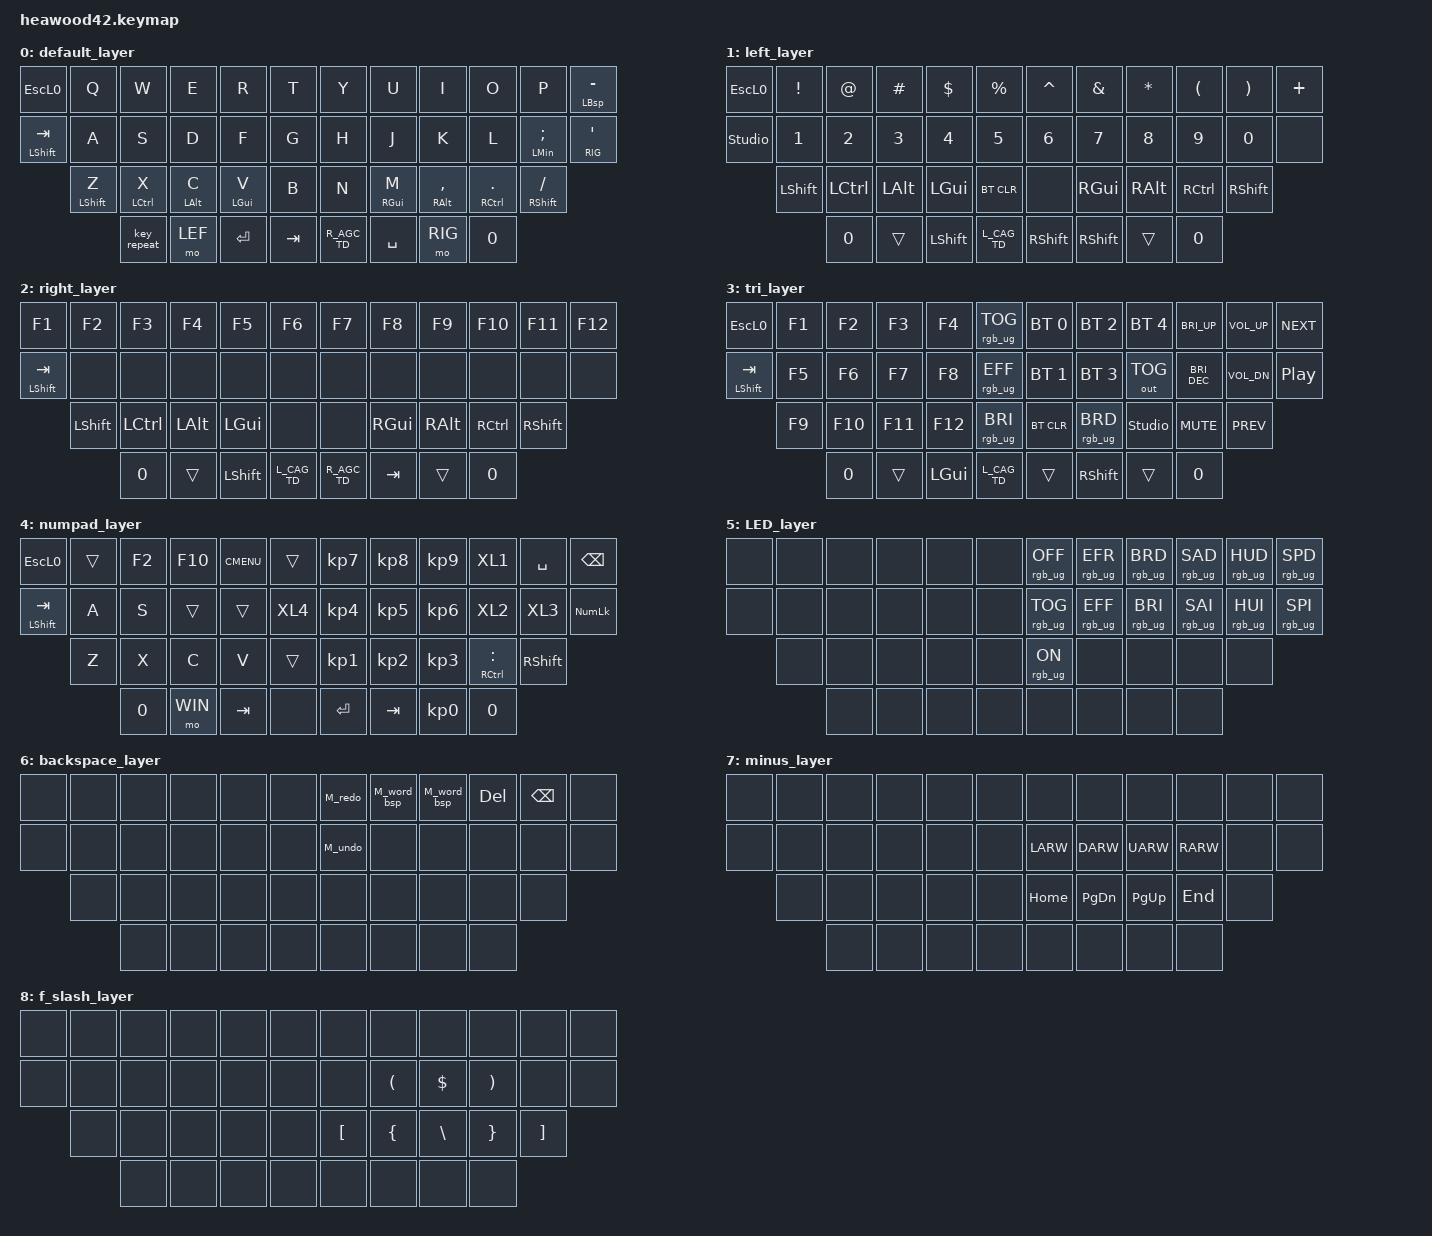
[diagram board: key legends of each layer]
/*
/*
 * Copyright (c) 2020 The ZMK Contributors
 *
 * SPDX-License-Identifier: MIT
 */

#include <behaviors.dtsi>
#include <dt-bindings/zmk/keys.h>
#include <dt-bindings/zmk/bt.h>
#include <dt-bindings/zmk/outputs.h>
#include <dt-bindings/zmk/ext_power.h>
#include <dt-bindings/zmk/rgb.h>
#include <dt-bindings/led/led.h>
 
#define RTOG RGB_TOG
#define RON  RGB_ON
#define ROFF RGB_OFF
#define REFF RGB_EFF
#define RBRI RGB_BRI
#define RBRD RGB_BRD
#define RSAI RGB_SAI
#define RSAD RGB_SAD
#define RSPI RGB_SPI
#define RSPD RGB_SPD
#define REFF RGB_EFF
#define REFR RGB_EFR
#define RHUI RGB_HUI
#define RHUD RGB_HUD

#define BT0 &bt BT_SEL 0
#define BT1 &bt BT_SEL 1
#define BT2 &bt BT_SEL 2
#define BT3 &bt BT_SEL 3
#define BT4 &bt BT_SEL 4
#define BT5 &bt BT_SEL 5
#define WIN 0
#define LEF 1
#define RIG 2
#define TRI 3
#define NUM 4
#define LED 5
#define LBsp 6 
#define LMin 7
#define LFsl 8


&led_strip {
    chain-length = <35>;
};


// My LED pin is P0.06
// See https://nicekeyboards.com/docs/nice-nano/pinout-schematic/
&pinctrl {
    spi3_default: spi3_default {
        group1 {
            psels = <NRF_PSEL(SPIM_MOSI, 0, 6)>;
        };
    };
 
    spi3_sleep: spi3_sleep {
        group1 {
            psels = <NRF_PSEL(SPIM_MOSI, 0, 6)>;
            low-power-enable;
        };
    };
};

&spi3 {
  compatible = "nordic,nrf-spim";
  status = "okay";

  pinctrl-0 = <&spi3_default>;
  pinctrl-1 = <&spi3_sleep>;
  pinctrl-names = "default", "sleep";

  led_strip: ws2812@0 {
    compatible = "worldsemi,ws2812-spi";

    // SPI //
    reg = <0>; // ignored, but necessary for SPI bindings //
    spi-max-frequency = <4000000>;

    // WS2812 //
    chain-length = <35>; // number of LEDs //
    spi-one-frame = <0x70>;
    spi-zero-frame = <0x40>;
    color-mapping = <LED_COLOR_ID_GREEN
                          LED_COLOR_ID_RED
                          LED_COLOR_ID_BLUE>;
  };
};



&sk {
    release-after-ms = <2000>;
    quick-release;
    };


// See https://github.com/rastasheep/zmk-config/blob/master/config/lily58.keymap
#define HYP LS(LC(LA(LGUI)))
#define HYPER(key) LS(LC(LA(LG(key))))
/ {

    behaviors {
    	//Hold Taps
        ht: hold_tap { 
            compatible = "zmk,behavior-hold-tap";
            #binding-cells = <2>;
            flavor = "tap-preferred";
            tapping-term-ms = <220>;
            quick-tap-ms = <150>;
            bindings = <&kp>, <&kp>;
        };
        htl: hold_tap_layers { 
            compatible = "zmk,behavior-hold-tap";
            #binding-cells = <2>;
            flavor = "hold-preferred";
            tapping-term-ms = <220>;
            quick-tap-ms = <150>;
            bindings = <&mo>, <&tog>;
        };
	
	//Tap Dances
	LSpace: spc_ent_left {
	    compatible = "zmk,behavior-tap-dance";
            #binding-cells = <0>;
            tapping-term-ms = <200>;
            bindings = <&kp SPACE>, <&kp ENTER>;  
	};
	RSpace: spc_ent_right {
	    compatible = "zmk,behavior-tap-dance";
            #binding-cells = <0>;
            tapping-term-ms = <200>;
            bindings = <&kp SPACE>, <&kp ENTER>;  
	};
	EscL0: Esctab_ent {
	    compatible = "zmk,behavior-tap-dance";
            #binding-cells = <0>;
            tapping-term-ms = <200>;
            bindings = <&kp ESC>, <&to 0>;
	};
	L_CAG_TD: CtrAltGui_L_TD{
	    compatible = "zmk,behavior-tap-dance";
            #binding-cells = <0>;
            tapping-term-ms = <300>;
            bindings = <&kp LCTRL>, <&kp LALT>,  <&kp LGUI>;
	};
	R_AGC_TD: AltGuiCtr_R_TD{
	    compatible = "zmk,behavior-tap-dance";
            #binding-cells = <0>;
            tapping-term-ms = <300>;
            bindings = <&kp RALT>, <&kp RGUI>, <&kp RCTRL>;
	};
	TD_COMMA: comma_semi_tapdance{
	    compatible = "zmk,behavior-tap-dance";
            #binding-cells = <0>;
            tapping-term-ms = <200>;
            bindings = <&kp COMMA>, <&kp SEMI>;
	};
	TD_LT: LessThan_LParenthesis_tapdance{
	    compatible = "zmk,behavior-tap-dance";
            #binding-cells = <0>;
            tapping-term-ms = <200>;
            bindings = <&kp COMMA>, <&kp N9>;
	};
	TD_DOT: dot_colon_tapdance{
	    compatible = "zmk,behavior-tap-dance";
            #binding-cells = <0>;
            tapping-term-ms = <200>;
            bindings = <&kp DOT>, <&kp COLON>;
	};
	TD_GT: GreaterThan_RParenthesis_tapdance{
	    compatible = "zmk,behavior-tap-dance";
            #binding-cells = <0>;
            tapping-term-ms = <200>;
            bindings = <&kp DOT>, <&kp N0>;
	};

	

	//Morphs
	MM_DOT: DotGT_ColonRParen_Modmorph {
            compatible = "zmk,behavior-mod-morph";
            #binding-cells = <0>;
            bindings = <&TD_DOT>, <&TD_GT>;
            mods = <(MOD_LSFT | MOD_RSFT)>;
            keep-mods = <(MOD_LSFT | MOD_RSFT)>;
	};
	MM_COMMA: CommaLT_SemiLParenthesis_Modmorph {
            compatible = "zmk,behavior-mod-morph";
            #binding-cells = <0>;
            bindings = <&TD_COMMA>, <&TD_LT>;
            mods = <(MOD_LSFT | MOD_RSFT)>;
            keep-mods = <(MOD_LSFT | MOD_RSFT)>;
	};

    };  //end behaviours
    


    macros {
        XL1: excel_decolour {
            compatible = "zmk,behavior-macro";
            #binding-cells = <0>;
            bindings
                = <&macro_press &kp LALT>
                , <&macro_tap &kp H &kp H &kp N>
                , <&macro_release &kp LALT>;
        }; 
	XL2: excel_time {
            compatible = "zmk,behavior-macro";
            #binding-cells = <0>;
            bindings
                = <&macro_press &kp LCTRL>
                , <&macro_press &kp LSHFT>
                , <&macro_tap &kp SEMI>
                , <&macro_release &kp LSHFT>
                , <&macro_release &kp LCTRL>;
        };
        XL3: excel_date {
            compatible = "zmk,behavior-macro";
            #binding-cells = <0>;
            bindings
                = <&macro_press &kp LCTRL>
                , <&macro_tap &kp SEMI>
                , <&macro_release &kp LCTRL>;
        };
        XL4: excel_general_format {
            compatible = "zmk,behavior-macro";
            #binding-cells = <0>;
            bindings
                = <&macro_press &kp LCTRL>
                , <&macro_press &kp LSHFT>
                , <&macro_tap &kp GRAVE>
                , <&macro_release &kp LSHFT>
                , <&macro_release &kp LCTRL>;
        };
	M_word_del: BDelWord{
            compatible = "zmk,behavior-macro";
            #binding-cells = <0>;
            bindings
                = <&macro_press &kp LCTRL>
                , <&macro_tap &kp DELETE>
		, <&macro_release &kp LCTRL>
		;
	};
	M_word_bsp: BSpcWord{
            compatible = "zmk,behavior-macro";
            #binding-cells = <0>;
            bindings
                = <&macro_press &kp LCTRL>
                , <&macro_tap &kp BACKSPACE>
		, <&macro_release &kp LCTRL>
		;
	};
	M_redo: RedoLast{
            compatible = "zmk,behavior-macro";
            #binding-cells = <0>;
            bindings
                = <&macro_press &kp LCTRL>
                , <&macro_tap &kp Y>
		, <&macro_release &kp LCTRL>
		;
	};
	M_undo: UndoLast{
            compatible = "zmk,behavior-macro";
            #binding-cells = <0>;
            bindings
                = <&macro_press &kp LCTRL>
                , <&macro_tap &kp Z>
		, <&macro_release &kp LCTRL>
		;
	};
    };

    conditional_layers {
        compatible = "zmk,conditional-layers";
        tri_layer {
            if-layers = <RIG LEF>;
            then-layer = <TRI>;
        };
    };

    combos {
        compatible = "zmk,combos";
        combo_del {
            timeout-ms = <50>;
            key-positions = <15 16>;
            bindings = <&kp DEL>;
        };
        combo_backspace {
            timeout-ms = <50>;
            key-positions = <19 20>;
            bindings = <&kp BSPC>;
        };
        combo_shift_left{
            timeout-ms = <50>;
            key-positions = <20 21>;
            bindings = <&kp LSHFT>;
        };
        combo_shift_right{
            timeout-ms = <50>;
            key-positions = <14 15>;
            bindings = <&kp RSHFT>;
        };
        combo_ctrl_left{
            timeout-ms = <50>;
            key-positions = <3 4>;
            bindings = <&kp LCTRL>;
        };
        combo_ctrl_right{
            timeout-ms = <50>;
            key-positions = <7 8>;
            bindings = <&kp RCTRL>;
        };
        combo_alt_left{
            timeout-ms = <50>;
            key-positions = <2 4>;
            bindings = <&kp LALT>;
        };
        combo_alt_right{
            timeout-ms = <50>;
            key-positions = <7 9>;
            bindings = <&kp RALT>;
        };
        combo_gui_left{
            timeout-ms = <50>;
            key-positions = <2 3>;
            bindings = <&kp LGUI>;
        };
        combo_gui_right{
            timeout-ms = <50>;
            key-positions = <8 9>;
            bindings = <&kp RGUI>;
        };
    };
    
    keymap {
        compatible = "zmk,keymap";
        default_layer {
            bindings = <
//              ╭───────────┬───────────┬───────────┬───────────┬───────────╮     ╭───────────┬───────────┬───────────┬───────────┬───────────╮
//╭─────────────┤     Q     │     W     │    E      │     R     │     T     │     │     Y     │     U     │     I     │     O     │     P     ├───────────╮
  &EscL0        &kp   Q     &kp   W     &kp  E      &kp   R     &kp   T           &kp   Y     &kp   U     &kp   I     &kp   O     &kp P       &lt LBsp MINUS
//│             ├───────────┼───────────┼───────────┼───────────┼───────────┤     ├───────────┼───────────┼───────────┼───────────┼───────────┤    -  (l) │
//├─────────────┤     A     │     S     │    D      │     F     │     G     │     │     H     │     J     │     K     │     L     │     ; (l) ├───────────┤
  &mt LSHFT TAB &kp   A     &kp   S     &kp  D      &kp   F     &kp   G           &kp   H     &kp   J     &kp   K     &kp   L     &lt LMin SEMI &lt RIG SQT
//│   LSHIFT    ├───────────┼───────────┼───────────┼───────────┼───────────┤     ├───────────┼───────────┼───────────┼───────────┼───────────┤ ' / Right │
//╰─────────────┤     Z     │     X     │    C      │     V     │     B     │     │     N     │     M     │    , <    │    . >   <│   / ? (l) ├───────────╯
                &mt LSHIFT Z &mt LCTRL X &mt LALT C &mt LGUI V  &kp   B           &kp   N     &mt RGUI M  &mt RALT COMMA &mt RCTRL DOT &mt RSHFT FSLH
//              ╰───────────┴───────────┴───────────┴───────────┴───────────╯     ╰───────────┴───────────┴───────────┴───────────┴───────────╯
//                          ╭───────────┬───────────┬───────────┬───────────╮     ╭───────────┬───────────┬───────────┬───────────╮
//                          │           │           │           │           │     │           │           │           │           │
                            &key_repeat &mo LEF     &kp ENTER   &kp TAB           &R_AGC_TD   &kp SPACE   &mo RIG    &kp N0
//                          ╰───────────┴───────────┤           ├───────────╯     ╰───────────┤           ├───────────┴───────────╯
//                                                  ╰───────────╯                             ╰───────────╯
		>;
	};


        left_layer {
            bindings = <
//              ╭───────────┬───────────┬───────────┬───────────┬───────────╮     ╭───────────┬───────────┬───────────┬───────────┬───────────╮
//╭─────────────┤     !     │     @     │     #     │     $     │     %     │     │     ^     │     &     │     *     │      (    │    )      ├───────────╮
  &EscL0        &kp EXCL    &kp  AT     &kp  HASH   &kp  DLLR   &kp  PRCNT        &kp CARET   &kp  AMPS   &kp STAR    &kp  LPAR   &kp  RPAR   &kp PLUS
//│ Esc + LayEsc├───────────┼───────────┼───────────┼───────────┼───────────┤     ├───────────┼───────────┼───────────┼───────────┼───────────┤           │
//├─────────────┤     1     │     2     │     3     │     4     │     5     │     │     6     │     7     │     8     │      9    │    0      ├───────────┤
  &studio_unlock &kp N1     &kp N2      &kp  N3     &kp  N4     &kp  N5           &kp  N6     &kp   N7    &kp   N8    &kp   N9    &kp  N0     &none
//│             ├───────────┼───────────┼───────────┼───────────┼───────────┤     ├───────────┼───────────┼───────────┼───────────┼───────────┤           │
//╰─────────────┤           │           │           │           │           │     │           │           │           │           │           ├───────────╯
                &kp LSHIFT  &kp LCTRL   &kp LALT    &kp LGUI    &bt BT_CLR        &none       &kp RGUI    &kp  RALT   &kp RCTRL   &kp RSHFT
//              ╰───────────┴───────────┴───────────┴───────────┴───────────╯     ╰───────────┴───────────┴───────────┴───────────┴───────────╯
//                          ╭───────────┬───────────┬───────────┬───────────╮     ╭───────────┬───────────┬───────────┬───────────╮
//                          │           │           │           │           │     │           │           │           │           │
                            &kp N0      &trans      &kp LSHFT   &L_CAG_TD         &kp RSHFT   &kp RSHFT   &trans      &kp N0 
//                          ╰───────────┴───────────┤           ├───────────╯     ╰───────────┤           ├───────────┴───────────╯
//          	                                      ╰───────────╯                             ╰───────────╯
		>;
	};

        right_layer {
            bindings = <
//              ╭───────────┬───────────┬───────────┬───────────┬───────────╮     ╭───────────┬───────────┬───────────┬───────────┬───────────╮
//╭─────────────┤     F2    │    F3     │     F4    │    F5     │     F6    │     │    F7     │    F8     │     F9    │    F10    │    F11    ├───────────╮
  &kp  F1       &kp   F2    &kp  F3     &kp   F4    &kp  F5     &kp   F6          &kp  F7     &kp  F8     &kp   F9    &kp  F10    &kp  F11    &kp  F12
//│    F1       ├───────────┼───────────┼───────────┼───────────┼───────────┤     ├───────────┼───────────┼───────────┼───────────┼───────────┤    F12
//├─────────────┤           │           │           │           │           │     │           │           │           │           │           ├───────────┤
  &mt LSHFT TAB &none       &none       &none       &none       &none             &none       &none       &none       &none       &none       &none
//│   LSHIFT    ├───────────┼───────────┼───────────┼───────────┼───────────┤     ├───────────┼───────────┼───────────┼───────────┼───────────┤           │
//╰─────────────┤           │           │           │           │           │     │           │           │           │           │           ├───────────╯
                &kp LSHIFT  &kp LCTRL   &kp LALT    &kp LGUI    &none             &none       &kp RGUI    &kp  RALT   &kp RCTRL   &kp RSHFT
//              ╰───────────┴───────────┴───────────┴───────────┴───────────╯     ╰───────────┴───────────┴───────────┴───────────┴───────────╯
//                          ╭───────────┬───────────┬───────────┬───────────╮     ╭───────────┬───────────┬───────────┬───────────╮
//                          │           │           │           │   Mods    │     │   Mods    │           │           │           │
                            &kp N0      &trans      &kp LSHFT   &L_CAG_TD         &R_AGC_TD   &kp TAB     &trans      &kp N0
//                          ╰───────────┴───────────┤           ├───────────╯     ╰───────────┤           ├───────────┴───────────╯
//          	                                      ╰───────────╯                             ╰───────────╯
		>;
	};


        tri_layer {
            bindings = <
//              ╭───────────┬───────────┬───────────┬───────────┬───────────╮     ╭───────────┬───────────┬───────────┬───────────┬───────────╮
//╭─────────────┤    F1     │    F2     │    F3     │    F4     │           │     │ PROFILE 0 │ PROFILE 2 │ PROFILE 4 │INC BRIGHT │ VOL UP    ├───────────╮
  &EscL0      &kp  F1     &kp  F2     &kp  F3     &kp  F4     &rgb_ug RGB_TOG        BT0         BT2         BT4    &kp C_BRI_UP &kp C_VOL_UP &kp C_NEXT
//│             ├───────────┼───────────┼───────────┼───────────┼───────────┤     ├───────────┼───────────┼───────────┼───────────┼───────────┤ NEXTSONG  │
//├─────────────┤    F5     │    F6     │    F7     │    F8     │           │     │ PROFILE 1 │ PROFILE 3 │ TOGGLEOUT │ DEC BRIGHT │ VOL DOWN ├───────────┤
  &mt LSHFT TAB &kp  F5   &kp  F6     &kp  F7     &kp  F8     &rgb_ug RGB_EFF        BT1         BT3    &out OUT_TOG &kp C_BRI_DEC &kp C_VOL_DN &kp C_PP
//│   LSHIFT    ├───────────┼───────────┼───────────┼───────────┼───────────┤     ├───────────┼───────────┼───────────┼───────────┼───────────┤ PAUSEMUSIC│
//╰─────────────┤    F9     │    F10    │    F11    │    F12    │           │     │ CLEAR BT  │           │           │  VOL MUTE │  PREVSONG ├───────────╯
                &kp  F9     &kp  F10    &kp  F11    &kp  F12    &rgb_ug RGB_BRI   &bt BT_CLR  &rgb_ug RGB_BRD &studio_unlock  &kp C_MUTE  &kp C_PREV
//              ╰───────────┴───────────┴───────────┴───────────┴───────────╯     ╰───────────┴───────────┴───────────┴───────────┴───────────╯
//                          ╭───────────┬───────────┬───────────┬───────────╮     ╭───────────┬───────────┬───────────┬───────────╮
//                          │           │           │           │           │     │           │           │           │           │
                            &kp N0      &trans      &kp LGUI    &L_CAG_TD         &trans      &kp RSHFT   &trans      &kp N0
//                          ╰───────────┴───────────┤           ├───────────╯     ╰───────────┤           ├───────────┴───────────╯
//          	                                      ╰───────────╯                             ╰───────────╯
		>;
	};

        numpad_layer {
            bindings = <
//              ╭───────────┬───────────┬───────────┬───────────┬───────────╮     ╭───────────┬───────────┬───────────┬───────────┬───────────╮
//╭─────────────┤           │   Edit    │           │ContextMenu│           │     │  7 (Home) │     8     │  9 (PgUp) │ De-colour │   Space   ├───────────╮
  &EscL0        &trans      &kp  F2     &kp   F10   &kp K_CMENU &trans            &kp KP_N7   &kp KP_N8   &kp KP_N9   &XL1        &kp SPACE   &kp BACKSPACE
//│             ├───────────┼───────────┼───────────┼───────────┼───────────┤     ├───────────┼───────────┼───────────┼───────────┼───────────┤ Backspace │
//├─────────────┤           │           │           │           │  General  │     │     4     │     5     │     6     │   Time    │   Date    ├───────────┤
  &mt LSHFT TAB &kp   A     &kp   S     &trans      &trans      &XL4              &kp KP_N4   &kp KP_N5   &kp KP_N6   &XL2        &XL3        &kp KP_NUM
//│   LSHIFT    ├───────────┼───────────┼───────────┼───────────┼───────────┤     ├───────────┼───────────┼───────────┼───────────┼───────────┤ Numlk     │
//╰─────────────┤     Z     │     X     │     C     │     V     │           │     │  1 (End)  │     2     │  3 (PgDn) │  :  Ctrl  │  Shift    ├───────────╯
                &kp   Z     &kp   X     &kp   C     &kp   V     &trans            &kp KP_N1   &kp KP_N2   &kp KP_N3 &mt RCTRL COLON &kp RSHIFT 
//              ╰───────────┴───────────┴───────────┴───────────┴───────────╯     ╰───────────┴───────────┴───────────┴───────────┴───────────╯
//                          ╭───────────┬───────────┬───────────┬───────────╮     ╭───────────┬───────────┬───────────┬───────────╮
//                          │           │           │           │           │     │  Enter    │   Tab     │  0 (Ins)  │   . (Del) │
                            &kp N0      &mo WIN     &kp TAB     &none             &kp ENTER   &kp TAB     &kp KP_NUMBER_0 &kp N0
//                          ╰───────────┴───────────┤           ├───────────╯     ╰───────────┤           ├───────────┴───────────╯
//                                                  ╰───────────╯                             ╰───────────╯
            >;
        };
	

        LED_layer {
            bindings = <
//              ╭───────────┬───────────┬───────────┬───────────┬───────────╮     ╭───────────┬───────────┬───────────┬───────────┬───────────╮
//╭─────────────┤           │           │           │           │           │     │           │           │           │           │           ├───────────╮
  &none         &none       &none       &none       &none       &none           &rgb_ug ROFF &rgb_ug REFR &rgb_ug RBRD &rgb_ug RSAD &rgb_ug RHUD &rgb_ug RSPD
//│             ├───────────┼───────────┼───────────┼───────────┼───────────┤     ├───────────┼───────────┼───────────┼───────────┼───────────┤           │
//├─────────────┤           │           │           │           │           │     │           │           │           │           │           ├───────────┤
  &none         &none       &none       &none       &none       &none             &rgb_ug RTOG &rgb_ug REFF &rgb_ug RBRI &rgb_ug RSAI &rgb_ug RHUI &rgb_ug RSPI
//│   LSHIFT    ├───────────┼───────────┼───────────┼───────────┼───────────┤     ├───────────┼───────────┼───────────┼───────────┼───────────┤           │
//╰─────────────┤           │           │           │           │           │     │           │           │           │           │           ├───────────╯
                &none       &none       &none       &none       &none             &rgb_ug RON &none       &none       &none       &none
//              ╰───────────┴───────────┴───────────┴───────────┴───────────╯     ╰───────────┴───────────┴───────────┴───────────┴───────────╯
//                          ╭───────────┬───────────┬───────────┬───────────╮     ╭───────────┬───────────┬───────────┬───────────╮
//                          │           │           │           │           │     │           │           │           │           │
                            &none       &none       &none       &none             &none       &none       &none       &none
//                          ╰───────────┴───────────┤           ├───────────╯     ╰───────────┤           ├───────────┴───────────╯
//                                                  ╰───────────╯                             ╰───────────╯
            >;
        };


        backspace_layer {
            bindings = <
//              ╭───────────┬───────────┬───────────┬───────────┬───────────╮     ╭───────────┬───────────┬───────────┬───────────┬───────────╮
//╭─────────────┤           │           │           │           │           │     │           │           │           │           │           ├───────────╮
  &none         &none       &none       &none       &none       &none             &M_redo     &M_word_bsp &M_word_bsp &kp DEL     &kp BSPC    &none
//│             ├───────────┼───────────┼───────────┼───────────┼───────────┤     ├───────────┼───────────┼───────────┼───────────┼───────────┤           │
//├─────────────┤           │           │           │           │           │     │           │           │           │           │           ├───────────┤
  &none         &none       &none       &none       &none       &none             &M_undo     &none       &none       &none       &none       &none
//│             ├───────────┼───────────┼───────────┼───────────┼───────────┤     ├───────────┼───────────┼───────────┼───────────┼───────────┤           │
//╰─────────────┤           │           │           │           │           │     │           │           │           │           │           ├───────────╯
                &none       &none       &none       &none       &none             &none       &none       &none       &none       &none
//              ╰───────────┴───────────┴───────────┴───────────┴───────────╯     ╰───────────┴───────────┴───────────┴───────────┴───────────╯
//                          ╭───────────┬───────────┬───────────┬───────────╮     ╭───────────┬───────────┬───────────┬───────────╮
//                          │           │           │           │           │     │           │           │           │           │
                            &none       &none       &none       &none             &none       &none       &none       &none 
//                          ╰───────────┴───────────┤           ├───────────╯     ╰───────────┤           ├───────────┴───────────╯
//                                                  ╰───────────╯                             ╰───────────╯
		>;
	};


        minus_layer {
            bindings = <
//              ╭───────────┬───────────┬───────────┬───────────┬───────────╮     ╭───────────┬───────────┬───────────┬───────────┬───────────╮
//╭─────────────┤           │           │           │           │           │     │           │           │           │           │           ├───────────╮
  &none         &none       &none       &none       &none       &none             &none       &none       &none       &none       &none       &none
//│             ├───────────┼───────────┼───────────┼───────────┼───────────┤     ├───────────┼───────────┼───────────┼───────────┼───────────┤           │
//├─────────────┤           │           │           │           │           │     │     ←     │     ↓     │     ↑     │    →      │           ├───────────┤
  &none         &none       &none       &none       &none       &none             &kp LARW    &kp DARW    &kp UARW    &kp RARW    &none       &none
//│             ├───────────┼───────────┼───────────┼───────────┼───────────┤     ├───────────┼───────────┼───────────┼───────────┼───────────┤           │
//╰─────────────┤           │           │           │           │           │     │   HOME    │  PAGE DN  │  PAGE UP  │    END    │           ├───────────╯
                &none       &none       &none       &none       &none             &kp HOME    &kp PG_DN   &kp PG_UP   &kp  END    &none
//              ╰───────────┴───────────┴───────────┴───────────┴───────────╯     ╰───────────┴───────────┴───────────┴───────────┴───────────╯
//                          ╭───────────┬───────────┬───────────┬───────────╮     ╭───────────┬───────────┬───────────┬───────────╮
//                          │           │           │           │           │     │           │           │           │           │
                            &none       &none       &none       &none             &none       &none       &none       &none 
//                          ╰───────────┴───────────┤           ├───────────╯     ╰───────────┤           ├───────────┴───────────╯
//                                                  ╰───────────╯                             ╰───────────╯
		>;
	};


        f_slash_layer {
            bindings = <
//              ╭───────────┬───────────┬───────────┬───────────┬───────────╮     ╭───────────┬───────────┬───────────┬───────────┬───────────╮
//╭─────────────┤           │           │           │           │           │     │           │           │           │           │           ├───────────╮
  &none         &none       &none       &none       &none       &none             &none       &none       &none       &none       &none       &none
//│             ├───────────┼───────────┼───────────┼───────────┼───────────┤     ├───────────┼───────────┼───────────┼───────────┼───────────┤           │
//├─────────────┤           │           │           │           │           │     │           │           │           │           │           ├───────────┤
  &none         &none       &none       &none       &none       &none             &none       &kp LPAR    &kp DOLLAR  &kp RPAR    &none       &none
//│   LSHIFT    ├───────────┼───────────┼───────────┼───────────┼───────────┤     ├───────────┼───────────┼───────────┼───────────┼───────────┤           │
//╰─────────────┤           │           │           │           │           │     │           │           │           │           │           ├───────────╯
                &none       &none       &none       &none       &none             &kp LBKT    &kp LBRC    &kp BSLH    &kp RBRC    &kp RBKT
//              ╰───────────┴───────────┴───────────┴───────────┴───────────╯     ╰───────────┴───────────┴───────────┴───────────┴───────────╯
//                          ╭───────────┬───────────┬───────────┬───────────╮     ╭───────────┬───────────┬───────────┬───────────╮
//                          │           │           │           │           │     │           │           │           │           │
                            &none       &none       &none       &none             &none       &none       &none       &none
//                          ╰───────────┴───────────┤           ├───────────╯     ╰───────────┤           ├───────────┴───────────╯
//                                                  ╰───────────╯                             ╰───────────╯
		>;
	};
    };
};


